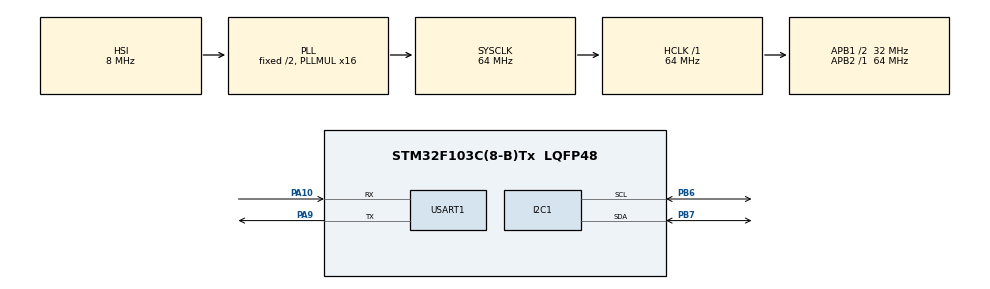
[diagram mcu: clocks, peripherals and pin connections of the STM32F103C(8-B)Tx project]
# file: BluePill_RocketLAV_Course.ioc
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Mcu.Family=STM32F1
Mcu.Name=STM32F103C(8-B)Tx
Mcu.Package=LQFP48
NVIC.PriorityGroup=NVIC_PRIORITYGROUP_4
NVIC.TIM1_UP_IRQn=true\:0\:0\:false\:false\:true\:true\:true\:true
PA10.Mode=Asynchronous
PA10.Signal=USART1_RX
PA13.Mode=Serial_Wire
PA13.Signal=SYS_JTMS-SWDIO
PA14.Mode=Serial_Wire
PA14.Signal=SYS_JTCK-SWCLK
PA9.Mode=Asynchronous
PA9.Signal=USART1_TX
PB6.Mode=I2C
PB6.Signal=I2C1_SCL
PB7.Mode=I2C
PB7.Signal=I2C1_SDA
ProjectManager.HeapSize=0x200
ProjectManager.StackSize=0x400
ProjectManager.TargetToolchain=Makefile
RCC.AHBFreq_Value=64000000
RCC.APB1CLKDivider=RCC_HCLK_DIV2
RCC.APB1Freq_Value=32000000
RCC.APB1TimFreq_Value=64000000
RCC.APB2Freq_Value=64000000
RCC.APB2TimFreq_Value=64000000
RCC.HCLKFreq_Value=64000000
RCC.PLLMUL=RCC_PLL_MUL16
RCC.SYSCLKFreq_VALUE=64000000
RCC.SYSCLKSource=RCC_SYSCLKSOURCE_PLLCLK
RCC.USBFreq_Value=64000000
USART1.VirtualMode=VM_ASYNC
VP_TIM1_VS_ClockSourceINT.Mode=Internal
board=custom

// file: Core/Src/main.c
/* USER CODE BEGIN Header */
/**
  ******************************************************************************
  * @file           : main.c
  * @brief          : Main program body
  ******************************************************************************
  * @attention
  *
  * Copyright (c) 2024 STMicroelectronics.
  * All rights reserved.
  *
  * This software is licensed under terms that can be found in the LICENSE file
  * in the root directory of this software component.
  * If no LICENSE file comes with this software, it is provided AS-IS.
  *
  ******************************************************************************
  */
/* USER CODE END Header */
#include "main.h"

/* USER CODE BEGIN Includes */
#include <string.h>
#include <stdio.h>
/* USER CODE END Includes */

I2C_HandleTypeDef hi2c1;

TIM_HandleTypeDef htim1;

UART_HandleTypeDef huart1;

/* USER CODE BEGIN PV */

/* Калибровочные переменные */

/* Для температуры */
///uint16_t dig_T1[1];
uint16_t dig_T1;
int16_t  dig_T2;
int16_t  dig_T3;

/* Для pressure */
uint16_t dig_P1;
int16_t  dig_P2;
int16_t  dig_P3;
int16_t  dig_P4;
int16_t  dig_P5;
int16_t  dig_P6;
int16_t  dig_P7;
int16_t  dig_P8;
int16_t  dig_P9;

int32_t actual_temp;
uint32_t actual_pressure;
/* USER CODE END PV */

void SystemClock_Config(void);
static void MX_GPIO_Init(void);
static void MX_USART1_UART_Init(void);
static void MX_TIM1_Init(void);
static void MX_I2C1_Init(void);

/* USER CODE BEGIN 0 */

// Returns temperature in DegC, resolution is 0.01 DegC. Output value of “5123” equals 51.23 DegC.
// t_fine carries fine temperature as global value
int32_t t_fine;
int32_t bmp280_compensate_T_int32(int32_t adc_T)
{
	int32_t var1, var2, T;
	var1 = ((((adc_T>>3) - ((int32_t)dig_T1<<1))) * ((int32_t)dig_T2)) >> 11;
	var2 = (((((adc_T>>4) - ((int32_t)dig_T1)) * ((adc_T>>4) - ((int32_t)dig_T1)))
	>> 12) *
	((int32_t)dig_T3)) >> 14;
	t_fine = var1 + var2;
	T = (t_fine * 5 + 128) >> 8;
	return T;
}

// Returns pressure in Pa as unsigned 32 bit integer in Q24.8 format (24 integer bits and 8 fractional bits).
// Output value of “24674867” represents 24674867/256 = 96386.2 Pa = 963.862 hPa
uint32_t bmp280_compensate_P_int64(int32_t adc_P)
{
	int64_t var1, var2, p;
	var1 = ((int64_t)t_fine) - 128000;
	var2 = var1 * var1 * (int64_t)dig_P6;
	var2 = var2 + ((var1*(int64_t)dig_P5)<<17);
	var2 = var2 + (((int64_t)dig_P4)<<35);
	var1 = ((var1 * var1 * (int64_t)dig_P3)>>8) + ((var1 * (int64_t)dig_P2)<<12);
	var1 = (((((int64_t)1)<<47)+var1))*((int64_t)dig_P1)>>33;

	if (var1 == 0)
	{
		return 0; // avoid exception caused by division by zero
	}

	p = 1048576-adc_P;
	p = (((p<<31)-var2)*3125)/var1;
	var1 = (((int64_t)dig_P9) * (p>>13) * (p>>13)) >> 25;
	var2 = (((int64_t)dig_P8) * p) >> 19;
	p = ((p + var1 + var2) >> 8) + (((int64_t)dig_P7)<<4);
	return (uint32_t)p;
}

void InitBmp()
{
	uint16_t Address_Bmp280 = 0x76 << 1; //или 0x77 - адрес устройства по линии I2C
	uint16_t Register_ID = 0xD0; //Адрес регистра в котором хранится значение ID
	uint8_t Data[1]; //Массив в котором МЫ будем хранить данные с регистра устройства
	uint16_t Size_ = 1; //Длина запрашиваемых данных, 1 байт = 1 регистр
	uint32_t Timeout_ = 0xFF; //Таймаут, 255 мс

	HAL_I2C_Mem_Read(&hi2c1, Address_Bmp280, Register_ID, I2C_MEMADD_SIZE_8BIT, Data, Size_, Timeout_);
	if (Data[0] == 0x58)
	{
		char buffer [28] = "BMP 0x58 READ SUCCESSFULLY\n\r";
		HAL_UART_Transmit(&huart1, (uint8_t *)buffer, strlen(buffer), 1000);
	} else
	{
		char buffer [20] = "BMP READ ERROR\n\r";
		HAL_UART_Transmit(&huart1, (uint8_t *)buffer, strlen(buffer), 1000);

	}
}

/// @brief
/// @param status
/// @param reg
void UART_Send_HAL_Status(HAL_StatusTypeDef status, char* reg)
{
  char* message = NULL;

  switch (status)
  {
    case HAL_OK:
      message = "OK";
      break;
    case HAL_ERROR:
      message = "ERROR";
      break;

    case HAL_BUSY:
      message = "BUSY";
      break;
    case HAL_TIMEOUT:
      message = "TIMEOUT";
      break;

    default:
      break;
  }

  char buffer[100];
  strcat(buffer, reg);
  strcat(buffer, ": ");
  strcat(buffer, message);
  strcat(buffer, "\n\r\0");

  HAL_UART_Transmit(&huart1, (uint8_t *)buffer, strlen(buffer), 0xFF);
}

void Read_Dig_Variables()
{
  UART_Send_HAL_Status(HAL_I2C_Mem_Read(&hi2c1, 0x76 << 1, 0x88, I2C_MEMADD_SIZE_8BIT, (uint8_t *)&dig_T1, 2, 0xFF), "dig_T1");
  UART_Send_HAL_Status(HAL_I2C_Mem_Read(&hi2c1, 0x76 << 1, 0x8A, I2C_MEMADD_SIZE_8BIT, (uint8_t *)&dig_T2, 2, 0xFF), "dig_T2");
  UART_Send_HAL_Status(HAL_I2C_Mem_Read(&hi2c1, 0x76 << 1, 0x8C, I2C_MEMADD_SIZE_8BIT, (uint8_t *)&dig_T3, 2, 0xFF), "dig_T3");

  UART_Send_HAL_Status(HAL_I2C_Mem_Read(&hi2c1, 0x76 << 1, 0x8E, I2C_MEMADD_SIZE_8BIT, (uint8_t *)&dig_P1, 2, 0xFF), "dig_P1");
  UART_Send_HAL_Status(HAL_I2C_Mem_Read(&hi2c1, 0x76 << 1, 0x90, I2C_MEMADD_SIZE_8BIT, (uint8_t *)&dig_P2, 2, 0xFF), "dig_P2");
  UART_Send_HAL_Status(HAL_I2C_Mem_Read(&hi2c1, 0x76 << 1, 0x92, I2C_MEMADD_SIZE_8BIT, (uint8_t *)&dig_P3, 2, 0xFF), "dig_P3");
  UART_Send_HAL_Status(HAL_I2C_Mem_Read(&hi2c1, 0x76 << 1, 0x94, I2C_MEMADD_SIZE_8BIT, (uint8_t *)&dig_P4, 2, 0xFF), "dig_P4");
  UART_Send_HAL_Status(HAL_I2C_Mem_Read(&hi2c1, 0x76 << 1, 0x96, I2C_MEMADD_SIZE_8BIT, (uint8_t *)&dig_P5, 2, 0xFF), "dig_P5");
  UART_Send_HAL_Status(HAL_I2C_Mem_Read(&hi2c1, 0x76 << 1, 0x98, I2C_MEMADD_SIZE_8BIT, (uint8_t *)&dig_P6, 2, 0xFF), "dig_P6");
  UART_Send_HAL_Status(HAL_I2C_Mem_Read(&hi2c1, 0x76 << 1, 0x9A, I2C_MEMADD_SIZE_8BIT, (uint8_t *)&dig_P7, 2, 0xFF), "dig_P7");
  UART_Send_HAL_Status(HAL_I2C_Mem_Read(&hi2c1, 0x76 << 1, 0x9C, I2C_MEMADD_SIZE_8BIT, (uint8_t *)&dig_P8, 2, 0xFF), "dig_P8");
  UART_Send_HAL_Status(HAL_I2C_Mem_Read(&hi2c1, 0x76 << 1, 0x9E, I2C_MEMADD_SIZE_8BIT, (uint8_t *)&dig_P9, 2, 0xFF), "dig_P9");
}

/* USER CODE END 0 */

int main(void)
{

  /* MCU Configuration--------------------------------------------------------*/

  /* Reset of all peripherals, Initializes the Flash interface and the Systick. */
  HAL_Init();

  /* Configure the system clock */
  SystemClock_Config();

  /* Initialize all configured peripherals */
  MX_GPIO_Init();
  MX_USART1_UART_Init();
  MX_TIM1_Init();
  MX_I2C1_Init();
  /* USER CODE BEGIN 2 */
  InitBmp();
  Read_Dig_Variables();

  //datasheet page 25, register ctrl_meas
  uint8_t ctrl_meas = 0b01001001;
  UART_Send_HAL_Status(HAL_I2C_Mem_Write(&hi2c1, 0x76 << 1, 0xF4, I2C_MEMADD_SIZE_8BIT, &ctrl_meas, 1, 0xFF), "ctrl_meas");

  /* USER CODE END 2 */

  /* Infinite loop */
  /* USER CODE BEGIN WHILE */
  while (1)
  {
    HAL_Delay(1000);
    char data[100] =  "----------------------------------------------\n\r\0";
    HAL_UART_Transmit(&huart1, (uint8_t*)data, strlen(data), 1000);

    uint8_t temp_raw[3];
    UART_Send_HAL_Status(HAL_I2C_Mem_Read(&hi2c1, 0x76 << 1, 0xFA, I2C_MEMADD_SIZE_8BIT, temp_raw, 1, 0xFF), "temp_msb");
    UART_Send_HAL_Status(HAL_I2C_Mem_Read(&hi2c1, 0x76 << 1, 0xFB, I2C_MEMADD_SIZE_8BIT, temp_raw+1, 1, 0xFF), "temp_lsb");
    UART_Send_HAL_Status(HAL_I2C_Mem_Read(&hi2c1, 0x76 << 1, 0xFC, I2C_MEMADD_SIZE_8BIT, temp_raw+2, 1, 0xFF), "temp_xlsb");

    int32_t temp_raw_32 = (int32_t) ( ((uint32_t)temp_raw[0] << 12) | ((uint32_t)temp_raw[1] << 4) | ((uint32_t)temp_raw[2] >> 4) );
    actual_temp = bmp280_compensate_T_int32(temp_raw_32);

    char temp_str[100];
    sprintf(temp_str, "Temperature: %.2f Celsius\n\n\r", ((float)actual_temp)/100);
    HAL_UART_Transmit(&huart1, (uint8_t*)temp_str, strlen(temp_str), 1000);

    uint8_t pressure_raw[3];
    UART_Send_HAL_Status(HAL_I2C_Mem_Read(&hi2c1, 0x76 << 1, 0xF7, I2C_MEMADD_SIZE_8BIT, pressure_raw, 1, 0xFF), "press_msb");
    UART_Send_HAL_Status(HAL_I2C_Mem_Read(&hi2c1, 0x76 << 1, 0xF8, I2C_MEMADD_SIZE_8BIT, pressure_raw+1, 1, 0xFF), "press_lsb");
    UART_Send_HAL_Status(HAL_I2C_Mem_Read(&hi2c1, 0x76 << 1, 0xF9, I2C_MEMADD_SIZE_8BIT, pressure_raw+2, 1, 0xFF), "press_xlsb");

    int32_t pressure_raw_32 = (int32_t) ( ((uint32_t)pressure_raw[0] << 12) | ((uint32_t)pressure_raw[1] << 4) | ((uint32_t)pressure_raw[2] >> 4) );
    actual_pressure = bmp280_compensate_P_int64(pressure_raw_32);

    char pressure_str[100];
    sprintf(pressure_str, "Pressure: %.4f Pa\n\n\r",  ((float)actual_pressure)/256);
    HAL_UART_Transmit(&huart1, (uint8_t*)pressure_str, strlen(pressure_str), 1000);

    /* USER CODE END WHILE */

  }
}

void SystemClock_Config(void)
{
  RCC_OscInitTypeDef RCC_OscInitStruct = {0};
  RCC_ClkInitTypeDef RCC_ClkInitStruct = {0};

  /** Initializes the RCC Oscillators according to the specified parameters
  * in the RCC_OscInitTypeDef structure.
  */
  RCC_OscInitStruct.OscillatorType = RCC_OSCILLATORTYPE_HSI;
  RCC_OscInitStruct.HSIState = RCC_HSI_ON;
  RCC_OscInitStruct.HSICalibrationValue = RCC_HSICALIBRATION_DEFAULT;
  RCC_OscInitStruct.PLL.PLLState = RCC_PLL_ON;
  RCC_OscInitStruct.PLL.PLLSource = RCC_PLLSOURCE_HSI_DIV2;
  RCC_OscInitStruct.PLL.PLLMUL = RCC_PLL_MUL16;
  if (HAL_RCC_OscConfig(&RCC_OscInitStruct) != HAL_OK)
  {
    Error_Handler();
  }

  /** Initializes the CPU, AHB and APB buses clocks
  */
  RCC_ClkInitStruct.ClockType = RCC_CLOCKTYPE_HCLK|RCC_CLOCKTYPE_SYSCLK
                              |RCC_CLOCKTYPE_PCLK1|RCC_CLOCKTYPE_PCLK2;
  RCC_ClkInitStruct.SYSCLKSource = RCC_SYSCLKSOURCE_PLLCLK;
  RCC_ClkInitStruct.AHBCLKDivider = RCC_SYSCLK_DIV1;
  RCC_ClkInitStruct.APB1CLKDivider = RCC_HCLK_DIV2;
  RCC_ClkInitStruct.APB2CLKDivider = RCC_HCLK_DIV1;

  if (HAL_RCC_ClockConfig(&RCC_ClkInitStruct, FLASH_LATENCY_2) != HAL_OK)
  {
    Error_Handler();
  }
}

static void MX_I2C1_Init(void)
{

  hi2c1.Instance = I2C1;
  hi2c1.Init.ClockSpeed = 100000;
  hi2c1.Init.DutyCycle = I2C_DUTYCYCLE_2;
  hi2c1.Init.OwnAddress1 = 0;
  hi2c1.Init.AddressingMode = I2C_ADDRESSINGMODE_7BIT;
  hi2c1.Init.DualAddressMode = I2C_DUALADDRESS_DISABLE;
  hi2c1.Init.OwnAddress2 = 0;
  hi2c1.Init.GeneralCallMode = I2C_GENERALCALL_DISABLE;
  hi2c1.Init.NoStretchMode = I2C_NOSTRETCH_DISABLE;
  if (HAL_I2C_Init(&hi2c1) != HAL_OK)
  {
    Error_Handler();
  }

}

static void MX_TIM1_Init(void)
{

  TIM_ClockConfigTypeDef sClockSourceConfig = {0};
  TIM_MasterConfigTypeDef sMasterConfig = {0};

  htim1.Instance = TIM1;
  htim1.Init.Prescaler = 0;
  htim1.Init.CounterMode = TIM_COUNTERMODE_UP;
  htim1.Init.Period = 65535;
  htim1.Init.ClockDivision = TIM_CLOCKDIVISION_DIV1;
  htim1.Init.RepetitionCounter = 0;
  htim1.Init.AutoReloadPreload = TIM_AUTORELOAD_PRELOAD_DISABLE;
  if (HAL_TIM_Base_Init(&htim1) != HAL_OK)
  {
    Error_Handler();
  }
  sClockSourceConfig.ClockSource = TIM_CLOCKSOURCE_INTERNAL;
  if (HAL_TIM_ConfigClockSource(&htim1, &sClockSourceConfig) != HAL_OK)
  {
    Error_Handler();
  }
  sMasterConfig.MasterOutputTrigger = TIM_TRGO_RESET;
  sMasterConfig.MasterSlaveMode = TIM_MASTERSLAVEMODE_DISABLE;
  if (HAL_TIMEx_MasterConfigSynchronization(&htim1, &sMasterConfig) != HAL_OK)
  {
    Error_Handler();
  }

}

static void MX_USART1_UART_Init(void)
{

  huart1.Instance = USART1;
  huart1.Init.BaudRate = 115200;
  huart1.Init.WordLength = UART_WORDLENGTH_8B;
  huart1.Init.StopBits = UART_STOPBITS_1;
  huart1.Init.Parity = UART_PARITY_NONE;
  huart1.Init.Mode = UART_MODE_TX_RX;
  huart1.Init.HwFlowCtl = UART_HWCONTROL_NONE;
  huart1.Init.OverSampling = UART_OVERSAMPLING_16;
  if (HAL_UART_Init(&huart1) != HAL_OK)
  {
    Error_Handler();
  }

}

static void MX_GPIO_Init(void)
{

  /* GPIO Ports Clock Enable */
  __HAL_RCC_GPIOA_CLK_ENABLE();
  __HAL_RCC_GPIOB_CLK_ENABLE();

}

void Error_Handler(void)
{
  __disable_irq();
  while (1)
  {
  }
}
